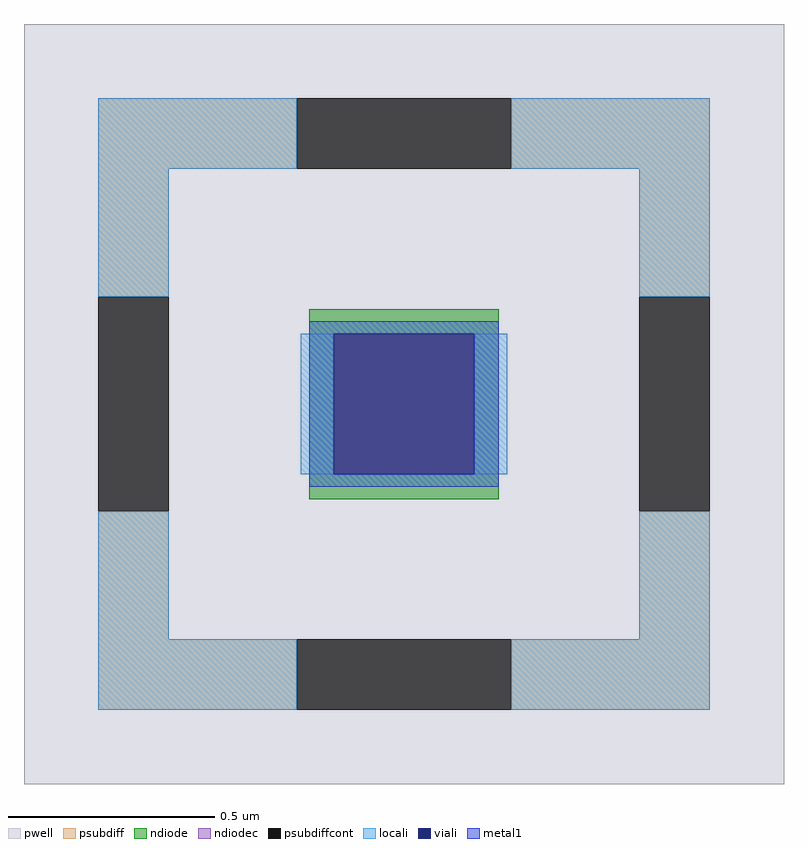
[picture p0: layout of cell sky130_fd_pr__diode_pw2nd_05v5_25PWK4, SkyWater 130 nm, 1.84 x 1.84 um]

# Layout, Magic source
magic
tech sky130A
<< pwell >>
rect -92 -92 92 92
<< psubdiff >>
rect -74 57 -26 74
rect 26 57 74 74
rect -74 26 -57 57
rect 57 26 74 57
rect -74 -57 -57 -26
rect 57 -57 74 -26
rect -74 -74 -26 -57
rect 26 -74 74 -57
<< psubdiffcont >>
rect -26 57 26 74
rect -74 -26 -57 26
rect 57 -26 74 26
rect -26 -74 26 -57
<< ndiode >>
rect -23 17 23 23
rect -23 -17 -17 17
rect 17 -17 23 17
rect -23 -23 23 -17
<< ndiodec >>
rect -17 -17 17 17
<< locali >>
rect -74 57 -26 74
rect 26 57 74 74
rect -74 26 -57 57
rect 57 26 74 57
rect -25 -17 -17 17
rect 17 -17 25 17
rect -74 -57 -57 -26
rect 57 -57 74 -26
rect -74 -74 -26 -57
rect 26 -74 74 -57
<< viali >>
rect -17 -17 17 17
<< metal1 >>
rect -23 17 23 20
rect -23 -17 -17 17
rect 17 -17 23 17
rect -23 -20 23 -17
<< properties >>
string FIXED_BBOX -65 -65 65 65
string gencell sky130_fd_pr__diode_pw2nd_05v5
string library sky130
string parameters w 0.46 l 0.46 area 211.6m peri 1.84 nx 1 ny 1 dummy 0 lmin 0.45 wmin 0.45 elc 1 erc 1 etc 1 ebc 1 doverlap 0 compatible {sky130_fd_pr__diode_pw2nd_05v5 sky130_fd_pr__diode_pw2nd_05v5_lvt  sky130_fd_pr__diode_pw2nd_05v5_nvt sky130_fd_pr__diode_pw2nd_11v0} full_metal 1 vias 1 viagb 0 viagt 0 viagl 0 viagr 0
<< end >>
